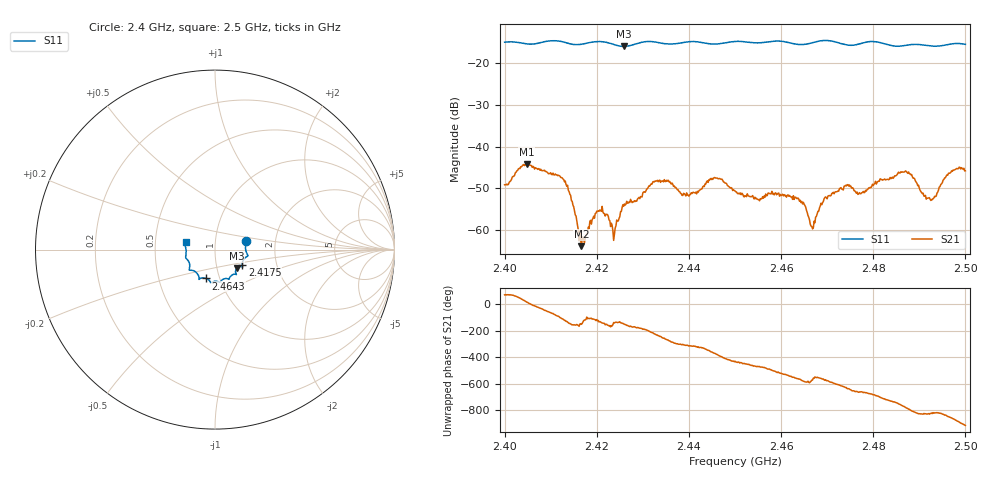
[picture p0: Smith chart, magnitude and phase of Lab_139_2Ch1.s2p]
# Hz S RI R 50
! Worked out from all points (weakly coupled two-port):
!   601 points, 2.4 GHz to 2.5 GHz, reference 50 ohm
!   highest |S21| = -44.17 dB at 2.4048 GHz (marker M1); lowest = -64.0 dB at 2.4167 GHz (marker M2)
!   lowest |S11| = -15.9 dB at 2.4258 GHz (marker M3), VSWR 1.38, Z = 62.3 - j13.2 ohm
!   |S11| at or under -10 dB: start of sweep to end of sweep
!   S12 and S22 are empty: the file has one direction only
!   S11 on the Smith chart (normalised r, x): 2.4 GHz: 1.41, +0.14; 2.4175 GHz: 1.33, -0.23; 2.4643 GHz: 0.86, -0.28; 2.5 GHz: 0.72, +0.06
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2.4e9  0.1732 0.049  0.00118 0.00326  0 0  0 0
2.404833e9  0.1704 0.0167  0.00599 0.00157  0 0  0 0
2.412833e9  0.1759 -0.0399  -0.00184 -0.00355  0 0  0 0
2.416667e9  0.1526 -0.074  -0.000557 -0.000299  0 0  0 0
2.4175e9  0.1517 -0.0836  -0.000385 -0.000692  0 0  0 0
2.420667e9  0.1549 -0.0974  -0.00114 -0.0013  0 0  0 0
2.423833e9  0.1391 -0.0941  -0.000682 -0.000559  0 0  0 0
2.425833e9  0.1219 -0.1031  -0.00164 -0.000975  0 0  0 0
2.433333e9  0.1134 -0.1369  -0.00201 0.00319  0 0  0 0
2.439833e9  0.0795 -0.1634  0.00176 0.00192  0 0  0 0
2.446e9  0.0474 -0.1641  0.00396 -0.00128  0 0  0 0
2.45e9  0.0288 -0.1813  0.000997 -0.00275  0 0  0 0
2.464333e9  -0.0499 -0.1606  -0.00182 0.00107  0 0  0 0
2.466667e9  -0.0763 -0.1589  -0.000923 0.000576  0 0  0 0
2.469167e9  -0.0886 -0.1662  -0.002 0.000859  0 0  0 0
2.4715e9  -0.0879 -0.1605  -0.00148 0.00226  0 0  0 0
2.477167e9  -0.1285 -0.1153  0.0014 0.00231  0 0  0 0
2.483333e9  -0.1406 -0.0897  0.00398 -0.000282  0 0  0 0
2.4875e9  -0.158 -0.0522  0.00194 -0.00434  0 0  0 0
2.492667e9  -0.1607 -0.018  -0.000379 -0.00228  0 0  0 0
2.4965e9  -0.1678 0.0243  -0.00303 -0.00368  0 0  0 0
2.5e9  -0.164 0.0425  -0.00498 0.00115  0 0  0 0
